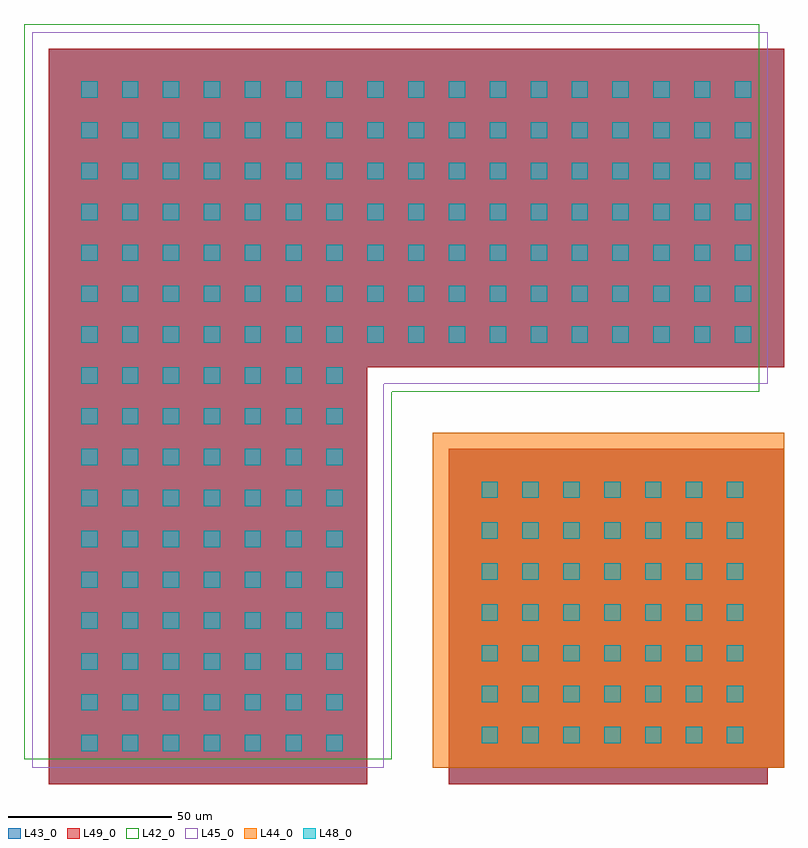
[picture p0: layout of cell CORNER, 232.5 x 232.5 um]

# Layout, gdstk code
import gdstk
lib = gdstk.Library(unit=1e-6, precision=1e-09)
def R(c, l, rs):  # rectangles x0, y0, x1, y1
    for r in rs: c.add(gdstk.rectangle(r[:2], r[2:], *l))
def A(c, l, x, y, w, h, nx, ny, dx, dy):  # array of equal rectangles
    R(c, l, [(x+i*dx, y+j*dy, x+i*dx+w, y+j*dy+h) for i in range(nx) for j in range(ny)])
L42_0 = (42, 0)
L43_0 = (43, 0)
L44_0 = (44, 0)
L45_0 = (45, 0)
L48_0 = (48, 0)
L49_0 = (49, 0)

corner = lib.new_cell('CORNER')
R(corner, L42_0, [(-232.5,7.5,-120,232.5), (-232.5,120,-7.5,232.5)])
R(corner, L43_0, [(-225,0,-127.5,225), (-102.5,0,-5,102.5), (-102.5,5,0,102.5), (-225,127.5,0,225)])
R(corner, L44_0, [(-107.5,5,0,107.5)])
R(corner, L45_0, [(-230,5,-122.5,230), (-230,122.5,-5,230)])
A(corner, L48_0, -215, 10, 5, 5, 7, 10, 12.5, 12.5)
A(corner, L48_0, -92.5, 12.5, 5, 5, 7, 7, 12.5, 12.5)
A(corner, L48_0, -215, 135, 5, 5, 17, 7, 12.5, 12.5)
R(corner, L49_0, [(-225,0,-127.5,225), (-102.5,0,-5,102.5), (-102.5,5,0,102.5), (-225,127.5,0,225)])

lib.write_gds('CORNER.gds')
